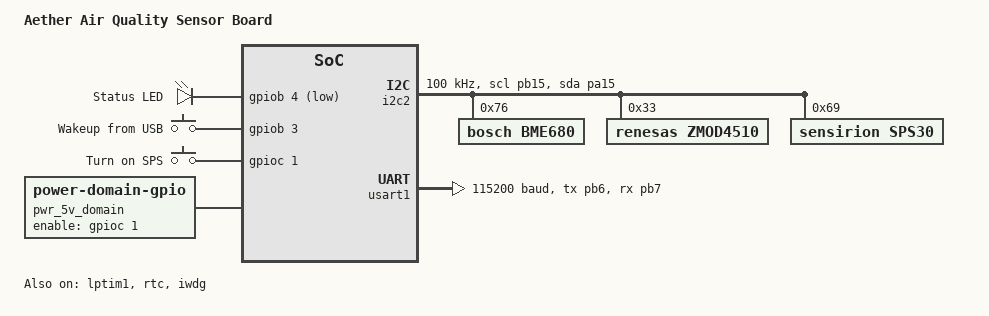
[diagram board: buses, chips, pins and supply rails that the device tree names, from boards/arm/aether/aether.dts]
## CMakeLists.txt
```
add_subdirectory(drivers)
add_subdirectory(lib)
zephyr_include_directories(include)
```

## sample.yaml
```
common:
   tags: lorawan
sample:
   description: The firmware for the Aether sensor node.
   name: Aether
tests:
   samples.lorawan.class_a:
     platform_allow: lora_e5_dev_board
```

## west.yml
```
manifest:
  self:
    path: aether

  remotes:
    - name: zephyrproject-rtos
      url-base: https://github.com/zephyrproject-rtos

  projects:
    - name: zephyr
      remote: zephyrproject-rtos
      revision: v3.0.0-rc3
      import: true
```

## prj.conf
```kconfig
CONFIG_LOG=y
CONFIG_SPI=y
CONFIG_GPIO=y
CONFIG_LORA=y
CONFIG_LORA_SX12XX=y
CONFIG_LORAWAN=y
CONFIG_LORAMAC_REGION_US915=y
CONFIG_MAIN_STACK_SIZE=2048
CONFIG_SYSTEM_WORKQUEUE_STACK_SIZE=2048
CONFIG_STDOUT_CONSOLE=y
CONFIG_I2C=y
CONFIG_SENSOR=y
#CONFIG_BME680=y
CONFIG_LORAWAN_SYSTEM_MAX_RX_ERROR=90
```

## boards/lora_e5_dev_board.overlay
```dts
&i2c2 {
	// BME680: bme680@77 {
	// 	compatible = "bosch,bme680";
	// 	reg = <0x77>;
	// 	label = "BME680";
    //     status="okay";
	// };

	zmod4510@33 {
		compatible = "renesas,zmod4510";
		reg = <0x33>;
		label = "ZMOD4510";
        status="okay";
	};
};
```

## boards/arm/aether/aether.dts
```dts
/*
 * Copyright (c) 2021 Thomas Stranger
 *
 * SPDX-License-Identifier: Apache-2.0
 */

/dts-v1/;
#include <seeed/lora-e5.dtsi>

/ {
	model = "Aether Air Quality Sensor Board";
	compatible = "ucf-aether,aether-v1";

	chosen {
		zephyr,console = &usart1;
		zephyr,shell-uart = &usart1;
		zephyr,sram = &sram0;
		zephyr,flash = &flash0;
		zephyr,code-partition = &flash0;
	};

	leds {
		compatible = "gpio-leds";
		status0: led_0 {
			gpios = <&gpiob 4 GPIO_ACTIVE_LOW>;
			label = "Status LED";
		};
	};

	aliases {
		lora0 = &lora;
    led0 = &status0;
	};

  gpio_keys {
    compatible = "gpio-keys";
    usb_wakeup: usb_wakeup {
      gpios = <&gpiob 3 GPIO_ACTIVE_HIGH>;
      label = "Wakeup from USB";
    };
	sps_power_pins: sps_power_pins {
		gpios = <&gpioc 1 GPIO_ACTIVE_HIGH>;
		label = "Turn on SPS";
	};
  };

  pwr_5v_domain: pwr_5v_domain {
    status = "okay";
    compatible = "power-domain-gpio";
    label = "pwr_5v_domain";
    enable-gpios = <&gpioc 1 GPIO_ACTIVE_HIGH>;
  };

	power-states {
		stop0: state0 {
			compatible = "zephyr,power-state";
			power-state-name = "suspend-to-idle";
			substate-id = <1>;
			min-residency-us = <100>;
		};
		stop1: state1 {
			compatible = "zephyr,power-state";
			power-state-name = "suspend-to-idle";
			substate-id = <2>;
			min-residency-us = <500>;
		};
		stop2: state2 {
			compatible = "zephyr,power-state";
			power-state-name = "suspend-to-idle";
			substate-id = <3>;
			min-residency-us = <900>;
		};
	};
};

sensors: &i2c2 {
  bme680: bme680@76 {
    compatible = "bosch,bme680";
    reg = <0x76>;
    label = "BME680";
    status="okay";
  };
  zmod4510: zmod4510@33 {
    compatible = "renesas,zmod4510";
    reg = <0x33>;
    label = "ZMOD4510";
    status="okay";
  };
  sps30: sps30@69 {
    compatible = "sensirion,sps30";
    reg = <0x69>;
    label = "SPS30";
    status="okay";
    power-domain = <&pwr_5v_domain>;
  };
};

&gpiob {
  wakeup-source;
};

&cpu0 {
	/* cpu-power-states = <&stop0 &stop1 &stop2>; */
	cpu-power-states = <&stop2>;
};

&lptim1 {
	status = "okay";
};

&clk_msi {
	status = "okay";
	msi-range = <11>;
};

&pll {
	clocks = <&clk_msi>;
	div-m = <3>;
	mul-n = <6>;
	div-r = <2>;
	div-q = <2>;
	div-p = <2>;
	status = "okay";
};

&rcc {
	clocks = <&clk_msi>;
	clock-frequency = <DT_FREQ_M(48)>;
	cpu1-prescaler = <1>;
	ahb3-prescaler = <1>;
	apb1-prescaler = <1>;
	apb2-prescaler = <1>;
};

&usart1 {
	pinctrl-0 = <&usart1_tx_pb6 &usart1_rx_pb7>;
	pinctrl-names = "default";
	current-speed = <115200>;
	status = "okay";
};

&i2c2 {
	pinctrl-0 = <&i2c2_scl_pb15 &i2c2_sda_pa15>;
	pinctrl-names = "default";
	status = "okay";
  /* sps30 has a max frequency of 100kHz */
	clock-frequency = <I2C_BITRATE_STANDARD>;
};

&rtc {
	status = "okay";
};

&iwdg {
	status = "okay";
};

&flash0 {
	partitions {
		compatible = "fixed-partitions";
		#address-cells = <1>;
		#size-cells = <1>;

		/* 16KB (8x2kB pages) of storage at the end of the flash */
		storage_partition: partition@3c000 {
			label = "storage";
			reg = <0x0003c000 0x00004000>;
		};
	};
};

/*
 * Other Pins:
 * Not assigned:  None
 * Debug:         PA13(swdio), PA14(swclk)
 */
```

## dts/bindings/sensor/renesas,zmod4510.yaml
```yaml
description: |
    The ZMOD4510 sensor.

compatible: "renesas,zmod4510"

include: i2c-device.yaml

properties:
  humidity-sensor:
    type: phandle
    required: false
    description: Sensor to feed humidity readings (float) to the zmod4510.
  temperature-sensor:
    type: phandle
    required: false
    description: Sensor to feed temperature readings (float) to the zmod4510.
```

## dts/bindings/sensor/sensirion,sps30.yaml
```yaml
description: |
    The SPS30 PM sensor.

compatible: "sensirion,sps30"

include: i2c-device.yaml
```

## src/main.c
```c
/*
 * Aether Sensor Node Firmware
 *
 * Copyright (c) 2022 Ian Wallace <ian.wallace@knights.ucf.edu>, Paul Wood <>
 *
 * SPDX-License-Identifier: Apache-2.0
 */

#include <device.h>
#include <drivers/sensor.h>
#include <logging/log.h>
#include <lorawan/lorawan.h>
//#include <include/pm/device.h>
#include <stdio.h>
#include <zephyr.h>

// #include "zmod4510_config_oaq2.h"
// #include "zmod4xxx.h"
// #include "zmod4xxx_cleaning.h"
// #include "zmod4xxx_hal.h"
// #include "oaq_2nd_gen.h"


/***************** LoRaWAN Configuration Paramters *******************/

/* Enable or disable LoRaWAN for testing purposes */
//#define ENABLE_LORAWAN
/* Switch between using ABP or OTAA parameters */
#define USE_ABP

#define DEFAULT_RADIO_NODE DT_ALIAS(lora0)
BUILD_ASSERT(DT_NODE_HAS_STATUS(DEFAULT_RADIO_NODE, okay),
	     "No default LoRa radio specified in DT");
#define DEFAULT_RADIO DT_LABEL(DEFAULT_RADIO_NODE)

#ifndef USE_ABP
/* OTAA Parameters */
#define LORAWAN_APP_EUI			{ 0x2C, 0xF7, 0xF1, 0x20, 0x32, 0x30,\
					  0x4D, 0xE8 }
#define LORAWAN_JOIN_EUI		{ 0x80, 0x00, 0x00, 0x00, 0x00, 0x00,\
					  0x00, 0x06 }
#define LORAWAN_APP_KEY			{ 0xB4, 0x4E, 0x83, 0x6D, 0x99, 0x06,\
					  0x79, 0xC8, 0x78, 0x03, 0x1A, 0x32,\
					  0x60, 0x51, 0x11, 0xC8 }

#else
/* ABP Parameters */
#define LORAWAN_DEV_ADDR 0x260CFF4F;
#define LORAWAN_JOIN_EUI		{ 0x80, 0x00, 0x00, 0x00, 0x00, 0x00,\
					  0x00, 0x06 }
#define LORAWAN_DEV_EUI			{ 0x2C, 0xF7, 0xF1, 0x20, 0x32, 0x30,\
					  0x4D, 0xE8}					  
#define LORAWAN_APP_EUI			{ 0x00, 0x00, 0x00, 0x00, 0x00, 0x00,\
					  0x00, 0x00}
#define LORAWAN_APP_SKEY		{ 0x88, 0x03, 0x0F, 0x9D, 0x09, 0x0D,\
					  0x09, 0xC0, 0x44, 0x63, 0x20, 0x4F, 0xC0, 0xE8,\
					  0x2C, 0xF5}
#define LORAWAN_NWK_SKEY		{ 0x06, 0xB1, 0x13, 0xEE, 0x65, 0x09,\
					  0xAA, 0xFB, 0x91, 0x75, 0xC2, 0x6E, 0xF2, 0x67,\
					  0x91, 0x92}
#endif

/*********************************************************************/

/********************** Other Defines ********************************/

#define DELAY K_MSEC(10000)

#define LOG_LEVEL CONFIG_LOG_DEFAULT_LEVEL

LOG_MODULE_REGISTER(lorawan_class_a);

/*********************************************************************/


static void dl_callback(uint8_t port, bool data_pending,
			int16_t rssi, int8_t snr,
			uint8_t len, const uint8_t *data)
{
	LOG_INF("Port %d, Pending %d, RSSI %ddB, SNR %ddBm", port, data_pending, rssi, snr);
	if (data) {
		LOG_HEXDUMP_INF(data, len, "Payload: ");
	}
}

static void lorwan_datarate_changed(enum lorawan_datarate dr)
{
	uint8_t unused, max_size;

	lorawan_get_payload_sizes(&unused, &max_size);
	LOG_INF("New Datarate: DR_%d, Max Payload %d", dr, max_size);
}

#ifndef USE_ABP

int init_lorawan_otaa()
{
	const struct device *lora_dev;
	struct lorawan_join_config join_cfg;
	uint8_t dev_eui[] = LORAWAN_APP_EUI;
	uint8_t join_eui[] = LORAWAN_JOIN_EUI;
	uint8_t app_key[] = LORAWAN_APP_KEY;
	int ret = 1;

	struct lorawan_downlink_cb downlink_cb = {
		.port = LW_RECV_PORT_ANY,
		.cb = dl_callback
	};

	lora_dev = device_get_binding(DEFAULT_RADIO);
	if (!lora_dev) {
		LOG_ERR("%s Device not found", DEFAULT_RADIO);
		return ret;
	}

	ret = lorawan_start();
	if (ret < 0) {
		LOG_ERR("lorawan_start failed: %d", ret);
		return ret;
	}

	lorawan_register_downlink_callback(&downlink_cb);
	lorawan_register_dr_changed_callback(lorwan_datarate_changed);

	join_cfg.mode = LORAWAN_ACT_OTAA;
	join_cfg.dev_eui = dev_eui;
	join_cfg.otaa.join_eui = join_eui;
	join_cfg.otaa.app_key = app_key;
	join_cfg.otaa.nwk_key = app_key;

	LOG_INF("Joining network over OTAA");
	ret = lorawan_join(&join_cfg);
	if (ret < 0) {
		LOG_ERR("lorawan_join_network failed: %d", ret);
		return ret;
	}

	return ret;
}

#else

int init_lorawan_abp()
{
	const struct device *lora_dev;
	struct lorawan_join_config join_cfg;

	uint32_t dev_addr = LORAWAN_DEV_ADDR;
	uint8_t dev_eui[] = LORAWAN_DEV_EUI;
	uint8_t app_eui[] = LORAWAN_APP_EUI;
	uint8_t app_skey[] = LORAWAN_APP_SKEY;
	uint8_t nwk_skey[] = LORAWAN_NWK_SKEY;
	
	int ret = 1;

	struct lorawan_downlink_cb downlink_cb = {
		.port = LW_RECV_PORT_ANY,
		.cb = dl_callback
	};

	lora_dev = device_get_binding(DEFAULT_RADIO);
	if (!lora_dev) {
		LOG_ERR("%s Device not found", DEFAULT_RADIO);
		return ret;
	}

	ret = lorawan_start();
	if (ret < 0) {
		LOG_ERR("lorawan_start failed: %d", ret);
		return ret;
	}

	lorawan_register_downlink_callback(&downlink_cb);
	lorawan_register_dr_changed_callback(lorwan_datarate_changed);

	join_cfg.mode = LORAWAN_ACT_ABP;
	join_cfg.dev_eui = dev_eui;
	join_cfg.abp.dev_addr = dev_addr;
	join_cfg.abp.app_eui = app_eui;
	join_cfg.abp.app_skey = app_skey;
	join_cfg.abp.nwk_skey = nwk_skey;

	LOG_INF("Joining network over ABP");
	ret = lorawan_join(&join_cfg);
	if (ret < 0) {
		LOG_ERR("lorawan_join_network failed: %d", ret);
		return ret;
	}

	return ret;
}

#endif


void main(void)
{
	int ret;
	/* Initialize LoRaWAN if we are using it */
	#ifdef ENABLE_LORAWAN
	int ret;

	/* Use LoRaWAN OTAA or ABP */
	#ifndef USE_ABP
	ret = init_lorawan_otaa();
	#else
	ret = init_lorawan_abp();
	#endif

	if (ret < 0)
		return;
	else
		LOG_INF("Join Success!");

	#endif

	const struct device *dev_zmod = device_get_binding("renesas,zmod4510");
	struct sensor_value fast_aqi, o3_ppb, aqi;

	// int8_t zret;
	// oaq_2nd_gen_handle_t algo_handle;
	// oaq_2nd_gen_results_t algo_results;

	// zmod4xxx_dev_t zmod_dev;
	// uint8_t adc_result[ZMOD4510_ADC_DATA_LEN];

	// float humidity_pct;
	// float temperature_degc;

	// zret = init_oaq_2nd_gen(&algo_handle, &zmod_dev);

	// Initialze the BME688
	// const struct device *dev_bme = DEVICE_DT_GET(DT_INST(0, bosch_bme680));
	// struct sensor_value temp, press, humidity, gas_res;

	ret = device_is_ready(dev_zmod);
	if (!ret) {
		printk("ZMOD4510 is not ready! Error: %d\n", ret);
		return;
	}
	


	// Check if the BME688 is ready
	// if (!device_is_ready(dev_bme)) {
	// 	printk("BME688 is not ready!\n");
	// 	return;
	// }

	#ifdef ENABLE_LORAWAN
	LOG_INF("Sending data...");
	#endif
	
	while (1)
	{
		sensor_sample_fetch(dev_zmod);
		sensor_channel_get(dev_zmod, SENSOR_CHAN_VOC, &o3_ppb);
		// sensor_channel_get(dev_zmod, SENSOR_CHAN_FAST_AQI, &fast_aqi);
		// sensor_channel_get(dev_zmod, SENSOR_CHAN_AQI, &aqi);

		//pm_device_action_run(dev_bme, PM_DEVICE_ACTION_TURN_ON);

		//zret = zmod4xxx_read_adc_result(&zmod_dev, adc_result);


        /* Humidity and temperature measurements are needed for ambient compensation.
        *  It is highly recommented to have a real humidity and temperature sensor
        *  for these values! */
        // humidity_pct = 50.0; // 50% RH
        // temperature_degc = 20.0; // 20 degC

		// //get sensor results with API
		// zret = calc_oaq_2nd_gen(&algo_handle, &zmod_dev, adc_result, humidity_pct,
		// 						temperature_degc, &algo_results);

        // if ((zret != OAQ_2ND_GEN_OK) && (zret != OAQ_2ND_GEN_STABILIZATION)) {
        //     printf("Error %d when calculating algorithm, exiting program!\n",
        //            zret);
        //     return;
        //     /* OAQ 2nd Gen algorithm skips first samples for sensor stabilization */
        // } else {
		printf("*********** Measurements ***********\n");
		// for (int i = 0; i < 8; i++) {
		//     printf(" Rmox[%d] = ", i);
		//     printf("%.3f kOhm\n", algo_results.rmox[i] / 1e3);
		// }
		printf(" O3_conc_ppb = %d\n", o3_ppb.val1);
		// printf(" Fast AQI = %d\n", fast_aqi.val1);
		// printf(" EPA AQI = %d\n", aqi.val1);

		printf("************************************\n");
        

		// sensor_sample_fetch(dev_bme);
		// sensor_channel_get(dev_bme, SENSOR_CHAN_AMBIENT_TEMP, &temp);
		// sensor_channel_get(dev_bme, SENSOR_CHAN_PRESS, &press);
		// sensor_channel_get(dev_bme, SENSOR_CHAN_HUMIDITY, &humidity);
		// sensor_channel_get(dev_bme, SENSOR_CHAN_GAS_RES, &gas_res);

		// printf("T: %d.%06d; P: %d.%06d; H: %d.%06d; G: %d.%06d\n",
		// 		temp.val1, temp.val2, press.val1, press.val2,
		// 		humidity.val1, humidity.val2, gas_res.val1,
		// 		gas_res.val2);
		
		//pm_device_action_run(dev_bme, PM_DEVICE_ACTION_TURN_OFF);

		#ifdef ENABLE_LORAWAN

		char data[] = {'h', 'e', 'l', 'l', 'o', 'w', 'o', 'r', 'l', 'd'};

		ret = lorawan_send(2, data, sizeof(data), LORAWAN_MSG_CONFIRMED);

		/*
		 * Note: The stack may return -EAGAIN if the provided data
		 * length exceeds the maximum possible one for the region and
		 * datarate. But since we are just sending the same data here,
		 * we'll just continue.
		 */
		if (ret == -EAGAIN) {
			LOG_ERR("lorawan_send failed: %d. Continuing...", ret);
			k_sleep(DELAY);
			continue;
		}

		if (ret < 0) {
			LOG_ERR("lorawan_send failed: %d", ret);
			return;
		}

		LOG_INF("Data sent!");
		#endif
		
		k_sleep(DELAY);
	}
}
```

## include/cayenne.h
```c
/*
 * Aether Sensor Node Firmware
 *
 * Copyright (c) 2022 Ian Wallace <ian.wallace@knights.ucf.edu>
 *					  Paul Wood <>
 *
 * SPDX-License-Identifier: Apache-2.0
 */

#ifndef __CAYENNE_H__
#define __CAYENNE_H__

#include <stdint.h>


enum cayenne_type {
  CAYENNE_TYPE_TEMP = 0,
  CAYENNE_TYPE_PRESSURE,
  CAYENNE_TYPE_HUMIDITY,
  CAYENNE_TYPE_GAS_RES,
  CAYENNE_TYPE_FAST_AQI,
  CAYENNE_TYPE_AQI,
  CAYENNE_TYPE_O3,
  CAYENNE_TYPE_PM_1_0,
  CAYENNE_TYPE_PM_2_5,
  CAYENNE_TYPE_PM_4_0,
  CAYENNE_TYPE_PM_10,

  CAYENNE_TYPE_MAX = CAYENNE_TYPE_PM_10,
};

enum cayenne_channel {
  CAYENNE_CHANNEL_BME = 0,
  CAYENNE_CHANNEL_ZMOD,
  CAYENNE_CHANNEL_SPS,
};

union reading_value {
  float f;
  uint8_t u8;
  uint16_t u16;
};

struct __attribute__((aligned(4))) reading {
  enum cayenne_channel chan;
  enum cayenne_type type;
  union reading_value val;
};

/*
 * cayenne_packetize
 * 
 * Description: 
 *  Turns a reading struct into a cayenne packet format starting at buffer in big-endian format.
 * Returns: 
 *  The number of bytes written, -1 on error.
 */
int cayenne_packetize(uint8_t *buffer, struct reading *reading);


int get_reading_size(struct reading *reading);

char* cayenne_channel_name(enum cayenne_channel chan);
char* cayenne_type_name(enum cayenne_type type);

#endif /* __CAYENNE_H__ */
```
